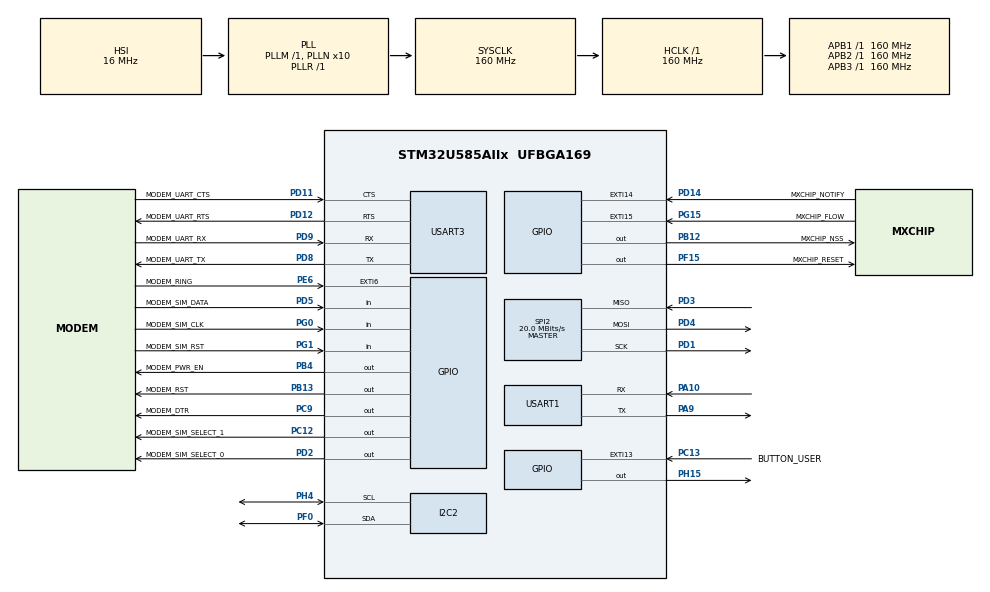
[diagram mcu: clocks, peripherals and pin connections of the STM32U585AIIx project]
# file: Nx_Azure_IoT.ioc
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CORTEX_M33_NS.userName=CORTEX_M33
GPDMA1.DESTINC_GPDMACH4=DMA_DINC_INCREMENTED
GPDMA1.DESTINC_GPDMACH5=DMA_DINC_FIXED
GPDMA1.DIRECTION_GPDMACH5=DMA_MEMORY_TO_PERIPH
GPDMA1.IPHANDLE_GPDMACH4-SIMPLEREQUEST_GPDMACH4=__NULL
GPDMA1.IPHANDLE_GPDMACH5-SIMPLEREQUEST_GPDMACH5=__NULL
GPDMA1.PRIORITY_GPDMACH4=DMA_LOW_PRIORITY_HIGH_WEIGHT
GPDMA1.PRIORITY_GPDMACH5=DMA_LOW_PRIORITY_HIGH_WEIGHT
GPDMA1.REQUEST_GPDMACH4=GPDMA1_REQUEST_SPI2_RX
GPDMA1.REQUEST_GPDMACH5=GPDMA1_REQUEST_SPI2_TX
GPDMA1.SRCINC_GPDMACH5=DMA_SINC_INCREMENTED
GPDMA1.TRANSFERALLOCATEDPORTDEST_GPDMACH4=DMA_DEST_ALLOCATED_PORT1
GPDMA1.TRANSFERALLOCATEDPORTDEST_GPDMACH5=DMA_DEST_ALLOCATED_PORT1
I2C2.Timing=0x30909DEC
Mcu.Family=STM32U5
Mcu.Name=STM32U585AIIx
Mcu.Package=UFBGA169
Mcu.UserConstants=SAMPLE_MAX_EXPONENTIAL_BACKOFF_IN_SEC,10
NETXDUO.NXD_MQTT_CLOUD_ENABLE=true
NETXDUO.NXD_MQTT_REQUIRE_TLS=true
NETXDUO.NX_APP_MEM_POOL_SIZE=64 * 1024
NETXDUO.NX_CLOUD_ENABLED=true
NETXDUO.NX_DRIVER_DEFERRED_PROCESSING=true
NETXDUO.NX_ENABLE_EXTENDED_NOTIFY_SUPPORT=true
NETXDUO.NX_ENABLE_IP_PACKET_FILTER=true
NETXDUO.NX_PHYSICAL_HEADER=44
NETXDUO.NX_SECURE_ENABLE=true
NETXDUO.NX_SECURE_ENABLE_ECC_CIPHERSUITE=true
NVIC.EXTI13_IRQn=true\:10\:0\:true\:false\:true\:false\:true\:true\:true
NVIC.EXTI14_IRQn=true\:5\:0\:true\:false\:true\:false\:false\:true\:true
NVIC.EXTI15_IRQn=true\:5\:0\:true\:false\:true\:false\:false\:true\:true
NVIC.EXTI6_IRQn=true\:5\:0\:true\:false\:true\:false\:true\:true\:true
NVIC.GPDMA1_Channel4_IRQn=true\:5\:0\:true\:false\:true\:true\:false\:true\:true
NVIC.GPDMA1_Channel5_IRQn=true\:5\:0\:true\:false\:true\:true\:false\:true\:true
NVIC.PriorityGroup=NVIC_PRIORITYGROUP_4
NVIC.SPI2_IRQn=true\:5\:0\:true\:false\:true\:false\:true\:true\:true
NVIC.TIM6_IRQn=true\:15\:0\:false\:false\:true\:false\:false\:true\:true
NVIC.TimeBase=TIM6_IRQn
NVIC.TimeBaseIP=TIM6
NVIC.USART1_IRQn=true\:5\:0\:true\:false\:true\:false\:false\:true\:true
NVIC.USART3_IRQn=true\:5\:0\:true\:false\:true\:false\:true\:true\:true
PA10.Mode=Asynchronous
PA10.Signal=USART1_RX
PA9.Mode=Asynchronous
PA9.Signal=USART1_TX
PB12.GPIO_Label=MXCHIP_NSS
PB12.GPIO_Speed=GPIO_SPEED_FREQ_HIGH
PB12.PinState=GPIO_PIN_SET
PB12.Signal=GPIO_Output
PB13.GPIO_Label=MODEM_RST
PB13.PinState=GPIO_PIN_SET
PB13.Signal=GPIO_Output
PB4\ (NJTRST).GPIO_Label=MODEM_PWR_EN
PB4\ (NJTRST).PinState=GPIO_PIN_SET
PB4\ (NJTRST).Signal=GPIO_Output
PC12.GPIO_Label=MODEM_SIM_SELECT_1
PC12.Signal=GPIO_Output
PC13.GPIO_Label=BUTTON_USER
PC13.Signal=GPXTI13
PC9.GPIO_Label=MODEM_DTR
PC9.Signal=GPIO_Output
PD1.GPIO_Mode=GPIO_MODE_AF_PP
PD1.GPIO_PuPd=GPIO_NOPULL
PD1.GPIO_Speed=GPIO_SPEED_FREQ_LOW
PD1.Mode=Full_Duplex_Master
PD1.Signal=SPI2_SCK
PD11.GPIO_Label=MODEM_UART_CTS
PD11.Mode=CTS_RTS
PD11.Signal=USART3_CTS
PD12.GPIO_Label=MODEM_UART_RTS
PD12.Mode=CTS_RTS
PD12.Signal=USART3_RTS
PD14.GPIO_Label=MXCHIP_NOTIFY
PD14.Signal=GPXTI14
PD2.GPIO_Label=MODEM_SIM_SELECT_0
PD2.Signal=GPIO_Output
PD3.GPIO_Mode=GPIO_MODE_AF_PP
PD3.GPIO_PuPd=GPIO_NOPULL
PD3.GPIO_Speed=GPIO_SPEED_FREQ_LOW
PD3.Mode=Full_Duplex_Master
PD3.Signal=SPI2_MISO
PD4.GPIO_Mode=GPIO_MODE_AF_PP
PD4.GPIO_PuPd=GPIO_NOPULL
PD4.GPIO_Speed=GPIO_SPEED_FREQ_LOW
PD4.Mode=Full_Duplex_Master
PD4.Signal=SPI2_MOSI
PD5.GPIO_Label=MODEM_SIM_DATA
PD5.Signal=GPIO_Input
PD8.GPIO_Label=MODEM_UART_TX
PD8.Mode=Asynchronous
PD8.Signal=USART3_TX
PD9.GPIO_Label=MODEM_UART_RX
PD9.Mode=Asynchronous
PD9.Signal=USART3_RX
PE6.GPIO_Label=MODEM_RING
PE6.Signal=GPXTI6
PF0.Mode=I2C
PF0.Signal=I2C2_SDA
PF15.GPIO_Label=MXCHIP_RESET
PF15.GPIO_Speed=GPIO_SPEED_FREQ_HIGH
PF15.Signal=GPIO_Output
PG0.GPIO_Label=MODEM_SIM_CLK
PG0.Signal=GPIO_Input
PG1.GPIO_Label=MODEM_SIM_RST
PG1.Signal=GPIO_Input
PG15.GPIO_Label=MXCHIP_FLOW
PG15.Signal=GPXTI15
PH15.PinState=GPIO_PIN_SET
PH15.Signal=GPIO_Output
PH4.Mode=I2C
PH4.Signal=I2C2_SCL
ProjectManager.HeapSize=0x200
ProjectManager.StackSize=0x400
ProjectManager.TargetToolchain=STM32CubeIDE
RCC.ADCFreq_Value=16000000
RCC.AHBFreq_Value=160000000
RCC.APB1Freq_Value=160000000
RCC.APB1TimFreq_Value=160000000
RCC.APB2Freq_Value=160000000
RCC.APB2TimFreq_Value=160000000
RCC.APB3Freq_Value=160000000
RCC.CortexFreq_Value=160000000
RCC.DACCLockSelectionVirtual=RCC_DAC1CLKSOURCE_LSI
RCC.EPOD_VALUE=16000000
RCC.HCLKFreq_Value=160000000
RCC.HSE_VALUE=16000000
RCC.HSI48_VALUE=48000000
RCC.HSI_VALUE=16000000
RCC.LSE_VALUE=32768
RCC.LSIDIV_VALUE=32000
RCC.MSIClockRange=RCC_MSIRANGE_0
RCC.MSI_VALUE=48000000
RCC.PLL1R=1
RCC.PLLN=10
RCC.PLLSourceVirtual=RCC_PLLSOURCE_HSI
RCC.SPI2CLockSelection=RCC_SPI2CLKSOURCE_PCLK1
RCC.SYSCLKFreq_VALUE=160000000
RCC.SYSCLKSource=RCC_SYSCLKSOURCE_PLLCLK
RCC.USBFreq_Value=48000000
RCC.VCOOutputFreq_Value=160000000
SPI2.BaudRatePrescaler=SPI_BAUDRATEPRESCALER_8
SPI2.CalculateBaudRate=20.0 MBits/s
SPI2.DataSize=SPI_DATASIZE_8BIT
SPI2.Direction=SPI_DIRECTION_2LINES
SPI2.Mode=SPI_MODE_MASTER
SPI2.NSSPMode=SPI_NSS_PULSE_DISABLE
SPI2.VirtualType=VM_MASTER
THREADX.AZRTOS_APP_MEM_ALLOCATION_METHOD=1
THREADX.TX_APP_MEM_POOL_SIZE=1024
THREADX.TX_MAX_PRIORITIES=64
THREADX.TX_THREAD_USER_EXTENSION=ULONG tx_thread_detached_joinable;
USART1.VirtualMode-Asynchronous=VM_ASYNC
USART3.VirtualMode-Asynchronous=VM_ASYNC
VP_GPDMA1_VS_GPDMACH4.Mode=SIMPLEREQUEST_GPDMACH4
VP_GPDMA1_VS_GPDMACH5.Mode=SIMPLEREQUEST_GPDMACH5
VP_ICACHE_VS_ICACHE.Mode=DirectMappedCache
VP_LPBAMQUEUE_VS_QUEUE.Mode=QUEUEMODE
VP_LPBAM_VS_SIG1.Mode=SmartRun
VP_LPBAM_VS_SIG4.Mode=LPDMA1
VP_NETXDUO_VS_AddonsOoCloud.Mode=Addons_Cloud
VP_NETXDUO_VS_AddonsOoDHCP.Mode=Addons_DHCP_Client
VP_NETXDUO_VS_AddonsOoDNS.Mode=Addons_DNS
VP_NETXDUO_VS_AddonsOoMQTT.Mode=Addons_MQTT
VP_NETXDUO_VS_AddonsOoSNTP.Mode=Addons_SNTP
VP_NETXDUO_VS_Crypto.Mode=Crypto
VP_NETXDUO_VS_NXOoCore.Mode=NX_Core
VP_NETXDUO_VS_TLS.Mode=TLS
VP_PWR_VS_DBSignals.Mode=DisableDeadBatterySignals
VP_PWR_VS_LPOM.Mode=PowerOptimisation
VP_PWR_VS_SECSignals.Mode=Security/Privilege
VP_RNG_VS_RNG.Mode=RNG_Activate
VP_SYS_VS_tim6.Mode=TIM6
VP_THREADX_VS_RTOSJjThreadXJjCoreJjDefault.Mode=Core_Default
board=custom

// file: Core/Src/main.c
/* USER CODE BEGIN Header */
/**
  ******************************************************************************
  * @file    main.c
  * @author  GPM Application Team
  * @brief   Main program body
  ******************************************************************************
  * @attention
  *
  * Copyright (c) 2021 STMicroelectronics.
  * All rights reserved.
  *
  * This software is licensed under terms that can be found in the ST_LICENSE file
  * in the root directory of this software component.
  * If no ST_LICENSE file comes with this software, it is provided AS-IS.
  *
  ******************************************************************************
  */
/* USER CODE END Header */
#include "app_threadx.h"
#include "main.h"

/* USER CODE BEGIN Includes */
#if defined(__ICCARM__)
#include <LowLevelIOInterface.h> /* for __write() */
#endif /* __ICCARM__ */
#include "app_azure_iot.h"
#include "app_azure_iot_version.h"

#if (USE_CELLULAR == 1)
#include "at_modem_api.h"
#endif
/* USER CODE END Includes */

I2C_HandleTypeDef hi2c2;

RNG_HandleTypeDef hrng;

SPI_HandleTypeDef hspi2;
DMA_HandleTypeDef handle_GPDMA1_Channel5;
DMA_HandleTypeDef handle_GPDMA1_Channel4;

UART_HandleTypeDef huart1;
UART_HandleTypeDef huart3;

void SystemClock_Config(void);
static void SystemPower_Config(void);
static void MX_GPIO_Init(void);
static void MX_GPDMA1_Init(void);
static void MX_SPI2_Init(void);
static void MX_USART1_UART_Init(void);
static void MX_USART3_UART_Init(void);
static void MX_ICACHE_Init(void);
static void MX_I2C2_Init(void);
static void MX_RNG_Init(void);
/* USER CODE BEGIN PFP */
#if (USE_WIFI == 1)
#if defined(__ICCARM__)
/* New definition from EWARM V9, compatible with EWARM8 */
int iar_fputc(int ch);
#define PUTCHAR_PROTOTYPE int iar_fputc(int ch)
#elif defined ( __CC_ARM ) || defined(__ARMCC_VERSION)
/* ARM Compiler 5/6*/
#define PUTCHAR_PROTOTYPE int fputc(int ch, FILE *f)
#elif defined(__GNUC__)
#define PUTCHAR_PROTOTYPE int __io_putchar(int ch)
#endif /* __ICCARM__ */
#endif /* USE_WIFI == 1 */
/* USER CODE END PFP */

/* USER CODE BEGIN 0 */
void HAL_GPIO_EXTI_Rising_Callback(uint16_t GPIO_Pin)
{
  switch (GPIO_Pin)
  {
    case (GPIO_PIN_1):

      break;
#if MX_WIFI_USE_SPI == 1
    case (MXCHIP_FLOW_Pin):
      mxchip_WIFI_ISR(MXCHIP_FLOW_Pin);
      nx_driver_emw3080_interrupt();
      break;

    case (MXCHIP_NOTIFY_Pin):
      mxchip_WIFI_ISR(MXCHIP_NOTIFY_Pin);
      nx_driver_emw3080_interrupt();
      break;
#endif /* MX_WIFI_USE_SPI */

#if USE_CELLULAR == 1
    case (MODEM_RING_PIN):
    {
      GPIO_PinState gstate;
      gstate = HAL_GPIO_ReadPin(MODEM_RING_GPIO_PORT, MODEM_RING_PIN);
      atcc_hw_event(DEVTYPE_MODEM_CELLULAR, HWEVT_MODEM_RING, gstate);
      break;
    }

#endif /* USE_CELLULAR == 1 */
    case(BUTTON_USER_Pin):
      app_azure_iot_on_user_button_pushed();
      break;
    default:
      break;
  }
}

#if MX_WIFI_USE_SPI == 1
void HAL_SPI_RxCpltCallback(SPI_HandleTypeDef *hspi)
{
  if (hspi == &hspi2)
  {
    HAL_SPI_TransferCallback(hspi);
  }
}

void HAL_SPI_TxCpltCallback(SPI_HandleTypeDef *hspi)
{
  if (hspi == &hspi2)
  {
    HAL_SPI_TransferCallback(hspi);
  }
}

void HAL_SPI_TxRxCpltCallback(SPI_HandleTypeDef *hspi)
{
  if (hspi == &hspi2)
  {
    HAL_SPI_TransferCallback(hspi);
  }
}
#endif

/* USER CODE END 0 */

int main(void)
{

  /* USER CODE BEGIN 1 */
  /* because of incorrect order of CubeMX code generation */
  __HAL_RCC_GPDMA1_CLK_ENABLE();
  /* USER CODE END 1 */

  /* MCU Configuration--------------------------------------------------------*/

  /* Reset of all peripherals, Initializes the Flash interface and the Systick. */
  HAL_Init();

  /* Configure the system clock */
  SystemClock_Config();

  /* Configure the System Power */
  SystemPower_Config();

  /* USER CODE BEGIN SysInit */
  BSP_LED_Init(LED_RED);
  BSP_LED_Init(LED_GREEN);
  /* USER CODE END SysInit */

  /* Initialize all configured peripherals */
  MX_GPIO_Init();
  MX_GPDMA1_Init();
  MX_SPI2_Init();
  MX_USART1_UART_Init();
  MX_USART3_UART_Init();
  MX_ICACHE_Init();
  MX_I2C2_Init();
  MX_RNG_Init();
  /* USER CODE BEGIN 2 */
  uint32_t seed = 0;

  /* generate a seed for C library srand() */
  /* (needed for NetXDuo TLS) */
  if(HAL_RNG_GenerateRandomNumber(&hrng, &seed) != HAL_OK)
  {
    Error_Handler();
  }
  srand(seed);

  printf("\r\n=========================================================================");
  printf("\r\n=               (C) COPYRIGHT 2021 STMicroelectronics                   =");
  printf("\r\n=                                                                       =");
  printf("\r\n=                         %s %d.%d.%d                            =", FW_VERSION_NAME,
                                                                                   FW_VERSION_MAJOR,
                                                                                   FW_VERSION_MINOR,
                                                                                   FW_VERSION_PATCH);
  printf("\r\n=                             %s                              =", APP_VERSION_NAME);
  printf("\r\n=                                                                       =");
  printf("\r\n= This application is not intended for production for security reasons. =");
  printf("\r\n= Please refer to TFM_Azure_IoT application of X-CUBE-AZURE             =");
  printf("\r\n= on www.st.com for a secured package.                                  =");
  printf("\r\n=========================================================================");
  printf("\r\n\r\n");

  /* USER CODE END 2 */

  MX_ThreadX_Init();

  /* We should never get here as control is now taken by the scheduler */

  /* Infinite loop */
  while (1)
  {

  }
}

void SystemClock_Config(void)
{
  RCC_OscInitTypeDef RCC_OscInitStruct = {0};
  RCC_ClkInitTypeDef RCC_ClkInitStruct = {0};

  /** Configure the main internal regulator output voltage
  */
  if (HAL_PWREx_ControlVoltageScaling(PWR_REGULATOR_VOLTAGE_SCALE1) != HAL_OK)
  {
    Error_Handler();
  }

  /** Initializes the CPU, AHB and APB buses clocks
  */
  RCC_OscInitStruct.OscillatorType = RCC_OSCILLATORTYPE_HSI48|RCC_OSCILLATORTYPE_HSI;
  RCC_OscInitStruct.HSIState = RCC_HSI_ON;
  RCC_OscInitStruct.HSI48State = RCC_HSI48_ON;
  RCC_OscInitStruct.HSICalibrationValue = RCC_HSICALIBRATION_DEFAULT;
  RCC_OscInitStruct.PLL.PLLState = RCC_PLL_ON;
  RCC_OscInitStruct.PLL.PLLSource = RCC_PLLSOURCE_HSI;
  RCC_OscInitStruct.PLL.PLLMBOOST = RCC_PLLMBOOST_DIV1;
  RCC_OscInitStruct.PLL.PLLM = 1;
  RCC_OscInitStruct.PLL.PLLN = 10;
  RCC_OscInitStruct.PLL.PLLP = 2;
  RCC_OscInitStruct.PLL.PLLQ = 2;
  RCC_OscInitStruct.PLL.PLLR = 1;
  RCC_OscInitStruct.PLL.PLLRGE = RCC_PLLVCIRANGE_1;
  RCC_OscInitStruct.PLL.PLLFRACN = 0;
  if (HAL_RCC_OscConfig(&RCC_OscInitStruct) != HAL_OK)
  {
    Error_Handler();
  }

  /** Initializes the CPU, AHB and APB buses clocks
  */
  RCC_ClkInitStruct.ClockType = RCC_CLOCKTYPE_HCLK|RCC_CLOCKTYPE_SYSCLK
                              |RCC_CLOCKTYPE_PCLK1|RCC_CLOCKTYPE_PCLK2
                              |RCC_CLOCKTYPE_PCLK3;
  RCC_ClkInitStruct.SYSCLKSource = RCC_SYSCLKSOURCE_PLLCLK;
  RCC_ClkInitStruct.AHBCLKDivider = RCC_SYSCLK_DIV1;
  RCC_ClkInitStruct.APB1CLKDivider = RCC_HCLK_DIV1;
  RCC_ClkInitStruct.APB2CLKDivider = RCC_HCLK_DIV1;
  RCC_ClkInitStruct.APB3CLKDivider = RCC_HCLK_DIV1;

  if (HAL_RCC_ClockConfig(&RCC_ClkInitStruct, FLASH_LATENCY_4) != HAL_OK)
  {
    Error_Handler();
  }
}

/**
  * @brief Power Configuration
  * @retval None
  */
static void SystemPower_Config(void)
{
  HAL_PWREx_EnableVddIO2();

  /*
   * Disable the internal Pull-Up in Dead Battery pins of UCPD peripheral
   */
  HAL_PWREx_DisableUCPDDeadBattery();
}

static void MX_GPDMA1_Init(void)
{

  /* Peripheral clock enable */
  __HAL_RCC_GPDMA1_CLK_ENABLE();

  /* GPDMA1 interrupt Init */
    HAL_NVIC_SetPriority(GPDMA1_Channel4_IRQn, 5, 0);
    HAL_NVIC_EnableIRQ(GPDMA1_Channel4_IRQn);
    HAL_NVIC_SetPriority(GPDMA1_Channel5_IRQn, 5, 0);
    HAL_NVIC_EnableIRQ(GPDMA1_Channel5_IRQn);

}

static void MX_I2C2_Init(void)
{

  hi2c2.Instance = I2C2;
  hi2c2.Init.Timing = 0x30909DEC;
  hi2c2.Init.OwnAddress1 = 0;
  hi2c2.Init.AddressingMode = I2C_ADDRESSINGMODE_7BIT;
  hi2c2.Init.DualAddressMode = I2C_DUALADDRESS_DISABLE;
  hi2c2.Init.OwnAddress2 = 0;
  hi2c2.Init.OwnAddress2Masks = I2C_OA2_NOMASK;
  hi2c2.Init.GeneralCallMode = I2C_GENERALCALL_DISABLE;
  hi2c2.Init.NoStretchMode = I2C_NOSTRETCH_DISABLE;
  if (HAL_I2C_Init(&hi2c2) != HAL_OK)
  {
    Error_Handler();
  }

  /** Configure Analogue filter
  */
  if (HAL_I2CEx_ConfigAnalogFilter(&hi2c2, I2C_ANALOGFILTER_ENABLE) != HAL_OK)
  {
    Error_Handler();
  }

  /** Configure Digital filter
  */
  if (HAL_I2CEx_ConfigDigitalFilter(&hi2c2, 0) != HAL_OK)
  {
    Error_Handler();
  }

}

static void MX_ICACHE_Init(void)
{

  /** Enable instruction cache in 1-way (direct mapped cache)
  */
  if (HAL_ICACHE_ConfigAssociativityMode(ICACHE_1WAY) != HAL_OK)
  {
    Error_Handler();
  }
  if (HAL_ICACHE_Enable() != HAL_OK)
  {
    Error_Handler();
  }

}

static void MX_RNG_Init(void)
{

  hrng.Instance = RNG;
  hrng.Init.ClockErrorDetection = RNG_CED_ENABLE;
  if (HAL_RNG_Init(&hrng) != HAL_OK)
  {
    Error_Handler();
  }

}

static void MX_SPI2_Init(void)
{

  SPI_AutonomousModeConfTypeDef HAL_SPI_AutonomousMode_Cfg_Struct = {0};

  /* SPI2 parameter configuration*/
  hspi2.Instance = SPI2;
  hspi2.Init.Mode = SPI_MODE_MASTER;
  hspi2.Init.Direction = SPI_DIRECTION_2LINES;
  hspi2.Init.DataSize = SPI_DATASIZE_8BIT;
  hspi2.Init.CLKPolarity = SPI_POLARITY_LOW;
  hspi2.Init.CLKPhase = SPI_PHASE_1EDGE;
  hspi2.Init.NSS = SPI_NSS_SOFT;
  hspi2.Init.BaudRatePrescaler = SPI_BAUDRATEPRESCALER_8;
  hspi2.Init.FirstBit = SPI_FIRSTBIT_MSB;
  hspi2.Init.TIMode = SPI_TIMODE_DISABLE;
  hspi2.Init.CRCCalculation = SPI_CRCCALCULATION_DISABLE;
  hspi2.Init.CRCPolynomial = 0x7;
  hspi2.Init.NSSPMode = SPI_NSS_PULSE_DISABLE;
  hspi2.Init.NSSPolarity = SPI_NSS_POLARITY_LOW;
  hspi2.Init.FifoThreshold = SPI_FIFO_THRESHOLD_01DATA;
  hspi2.Init.MasterSSIdleness = SPI_MASTER_SS_IDLENESS_00CYCLE;
  hspi2.Init.MasterInterDataIdleness = SPI_MASTER_INTERDATA_IDLENESS_00CYCLE;
  hspi2.Init.MasterReceiverAutoSusp = SPI_MASTER_RX_AUTOSUSP_DISABLE;
  hspi2.Init.MasterKeepIOState = SPI_MASTER_KEEP_IO_STATE_DISABLE;
  hspi2.Init.IOSwap = SPI_IO_SWAP_DISABLE;
  hspi2.Init.ReadyMasterManagement = SPI_RDY_MASTER_MANAGEMENT_INTERNALLY;
  hspi2.Init.ReadyPolarity = SPI_RDY_POLARITY_HIGH;
  if (HAL_SPI_Init(&hspi2) != HAL_OK)
  {
    Error_Handler();
  }
  HAL_SPI_AutonomousMode_Cfg_Struct.TriggerState = SPI_AUTO_MODE_DISABLE;
  HAL_SPI_AutonomousMode_Cfg_Struct.TriggerSelection = SPI_GRP1_GPDMA_CH0_TCF_TRG;
  HAL_SPI_AutonomousMode_Cfg_Struct.TriggerPolarity = SPI_TRIG_POLARITY_RISING;
  if (HAL_SPIEx_SetConfigAutonomousMode(&hspi2, &HAL_SPI_AutonomousMode_Cfg_Struct) != HAL_OK)
  {
    Error_Handler();
  }
  /* USER CODE BEGIN SPI2_Init 2 */
  SPI2->CFG1 |= 0x00000007 << SPI_CFG1_CRCSIZE_Pos;
  /* USER CODE END SPI2_Init 2 */

}

static void MX_USART1_UART_Init(void)
{

  huart1.Instance = USART1;
  huart1.Init.BaudRate = 115200;
  huart1.Init.WordLength = UART_WORDLENGTH_8B;
  huart1.Init.StopBits = UART_STOPBITS_1;
  huart1.Init.Parity = UART_PARITY_NONE;
  huart1.Init.Mode = UART_MODE_TX_RX;
  huart1.Init.HwFlowCtl = UART_HWCONTROL_NONE;
  huart1.Init.OverSampling = UART_OVERSAMPLING_16;
  huart1.Init.OneBitSampling = UART_ONE_BIT_SAMPLE_DISABLE;
  huart1.Init.ClockPrescaler = UART_PRESCALER_DIV1;
  huart1.AdvancedInit.AdvFeatureInit = UART_ADVFEATURE_NO_INIT;
  if (HAL_UART_Init(&huart1) != HAL_OK)
  {
    Error_Handler();
  }
  if (HAL_UARTEx_SetTxFifoThreshold(&huart1, UART_TXFIFO_THRESHOLD_1_8) != HAL_OK)
  {
    Error_Handler();
  }
  if (HAL_UARTEx_SetRxFifoThreshold(&huart1, UART_RXFIFO_THRESHOLD_1_8) != HAL_OK)
  {
    Error_Handler();
  }
  if (HAL_UARTEx_DisableFifoMode(&huart1) != HAL_OK)
  {
    Error_Handler();
  }

}

static void MX_USART3_UART_Init(void)
{

  huart3.Instance = USART3;
  huart3.Init.BaudRate = 115200;
  huart3.Init.WordLength = UART_WORDLENGTH_8B;
  huart3.Init.StopBits = UART_STOPBITS_1;
  huart3.Init.Parity = UART_PARITY_NONE;
  huart3.Init.Mode = UART_MODE_TX_RX;
  huart3.Init.HwFlowCtl = UART_HWCONTROL_RTS_CTS;
  huart3.Init.OverSampling = UART_OVERSAMPLING_16;
  huart3.Init.OneBitSampling = UART_ONE_BIT_SAMPLE_DISABLE;
  huart3.Init.ClockPrescaler = UART_PRESCALER_DIV1;
  huart3.AdvancedInit.AdvFeatureInit = UART_ADVFEATURE_NO_INIT;
  if (HAL_UART_Init(&huart3) != HAL_OK)
  {
    Error_Handler();
  }
  if (HAL_UARTEx_SetTxFifoThreshold(&huart3, UART_TXFIFO_THRESHOLD_1_8) != HAL_OK)
  {
    Error_Handler();
  }
  if (HAL_UARTEx_SetRxFifoThreshold(&huart3, UART_RXFIFO_THRESHOLD_1_8) != HAL_OK)
  {
    Error_Handler();
  }
  if (HAL_UARTEx_DisableFifoMode(&huart3) != HAL_OK)
  {
    Error_Handler();
  }

}

static void MX_GPIO_Init(void)
{
  GPIO_InitTypeDef GPIO_InitStruct = {0};

  /* GPIO Ports Clock Enable */
  __HAL_RCC_GPIOG_CLK_ENABLE();
  __HAL_RCC_GPIOH_CLK_ENABLE();
  __HAL_RCC_GPIOB_CLK_ENABLE();
  __HAL_RCC_GPIOD_CLK_ENABLE();
  __HAL_RCC_GPIOF_CLK_ENABLE();
  __HAL_RCC_GPIOC_CLK_ENABLE();
  __HAL_RCC_GPIOE_CLK_ENABLE();
  __HAL_RCC_GPIOA_CLK_ENABLE();

  /*Configure GPIO pin Output Level */
  HAL_GPIO_WritePin(GPIOH, GPIO_PIN_15, GPIO_PIN_SET);

  /*Configure GPIO pin Output Level */
  HAL_GPIO_WritePin(GPIOB, MODEM_PWR_EN_Pin|MXCHIP_NSS_Pin|MODEM_RST_Pin, GPIO_PIN_SET);

  /*Configure GPIO pin Output Level */
  HAL_GPIO_WritePin(GPIOC, MODEM_SIM_SELECT_1_Pin|MODEM_DTR_Pin, GPIO_PIN_RESET);

  /*Configure GPIO pin Output Level */
  HAL_GPIO_WritePin(MODEM_SIM_SELECT_0_GPIO_Port, MODEM_SIM_SELECT_0_Pin, GPIO_PIN_RESET);

  /*Configure GPIO pin Output Level */
  HAL_GPIO_WritePin(MXCHIP_RESET_GPIO_Port, MXCHIP_RESET_Pin, GPIO_PIN_RESET);

  /*Configure GPIO pin : MXCHIP_FLOW_Pin */
  GPIO_InitStruct.Pin = MXCHIP_FLOW_Pin;
  GPIO_InitStruct.Mode = GPIO_MODE_IT_RISING;
  GPIO_InitStruct.Pull = GPIO_NOPULL;
  HAL_GPIO_Init(MXCHIP_FLOW_GPIO_Port, &GPIO_InitStruct);

  /*Configure GPIO pin : PH15 */
  GPIO_InitStruct.Pin = GPIO_PIN_15;
  GPIO_InitStruct.Mode = GPIO_MODE_OUTPUT_PP;
  GPIO_InitStruct.Pull = GPIO_NOPULL;
  GPIO_InitStruct.Speed = GPIO_SPEED_FREQ_LOW;
  HAL_GPIO_Init(GPIOH, &GPIO_InitStruct);

  /*Configure GPIO pins : MODEM_PWR_EN_Pin MODEM_RST_Pin */
  GPIO_InitStruct.Pin = MODEM_PWR_EN_Pin|MODEM_RST_Pin;
  GPIO_InitStruct.Mode = GPIO_MODE_OUTPUT_PP;
  GPIO_InitStruct.Pull = GPIO_NOPULL;
  GPIO_InitStruct.Speed = GPIO_SPEED_FREQ_LOW;
  HAL_GPIO_Init(GPIOB, &GPIO_InitStruct);

  /*Configure GPIO pin : BUTTON_USER_Pin */
  GPIO_InitStruct.Pin = BUTTON_USER_Pin;
  GPIO_InitStruct.Mode = GPIO_MODE_IT_RISING;
  GPIO_InitStruct.Pull = GPIO_NOPULL;
  HAL_GPIO_Init(BUTTON_USER_GPIO_Port, &GPIO_InitStruct);

  /*Configure GPIO pin : MODEM_RING_Pin */
  GPIO_InitStruct.Pin = MODEM_RING_Pin;
  GPIO_InitStruct.Mode = GPIO_MODE_IT_RISING;
  GPIO_InitStruct.Pull = GPIO_NOPULL;
  HAL_GPIO_Init(MODEM_RING_GPIO_Port, &GPIO_InitStruct);

  /*Configure GPIO pin : MODEM_SIM_DATA_Pin */
  GPIO_InitStruct.Pin = MODEM_SIM_DATA_Pin;
  GPIO_InitStruct.Mode = GPIO_MODE_INPUT;
  GPIO_InitStruct.Pull = GPIO_NOPULL;
  HAL_GPIO_Init(MODEM_SIM_DATA_GPIO_Port, &GPIO_InitStruct);

  /*Configure GPIO pins : MODEM_SIM_SELECT_1_Pin MODEM_DTR_Pin */
  GPIO_InitStruct.Pin = MODEM_SIM_SELECT_1_Pin|MODEM_DTR_Pin;
  GPIO_InitStruct.Mode = GPIO_MODE_OUTPUT_PP;
  GPIO_InitStruct.Pull = GPIO_NOPULL;
  GPIO_InitStruct.Speed = GPIO_SPEED_FREQ_LOW;
  HAL_GPIO_Init(GPIOC, &GPIO_InitStruct);

  /*Configure GPIO pin : MODEM_SIM_SELECT_0_Pin */
  GPIO_InitStruct.Pin = MODEM_SIM_SELECT_0_Pin;
  GPIO_InitStruct.Mode = GPIO_MODE_OUTPUT_PP;
  GPIO_InitStruct.Pull = GPIO_NOPULL;
  GPIO_InitStruct.Speed = GPIO_SPEED_FREQ_LOW;
  HAL_GPIO_Init(MODEM_SIM_SELECT_0_GPIO_Port, &GPIO_InitStruct);

  /*Configure GPIO pins : MODEM_SIM_RST_Pin MODEM_SIM_CLK_Pin */
  GPIO_InitStruct.Pin = MODEM_SIM_RST_Pin|MODEM_SIM_CLK_Pin;
  GPIO_InitStruct.Mode = GPIO_MODE_INPUT;
  GPIO_InitStruct.Pull = GPIO_NOPULL;
  HAL_GPIO_Init(GPIOG, &GPIO_InitStruct);

  /*Configure GPIO pin : MXCHIP_NOTIFY_Pin */
  GPIO_InitStruct.Pin = MXCHIP_NOTIFY_Pin;
  GPIO_InitStruct.Mode = GPIO_MODE_IT_RISING;
  GPIO_InitStruct.Pull = GPIO_NOPULL;
  HAL_GPIO_Init(MXCHIP_NOTIFY_GPIO_Port, &GPIO_InitStruct);

  /*Configure GPIO pin : MXCHIP_NSS_Pin */
  GPIO_InitStruct.Pin = MXCHIP_NSS_Pin;
  GPIO_InitStruct.Mode = GPIO_MODE_OUTPUT_PP;
  GPIO_InitStruct.Pull = GPIO_NOPULL;
  GPIO_InitStruct.Speed = GPIO_SPEED_FREQ_HIGH;
  HAL_GPIO_Init(MXCHIP_NSS_GPIO_Port, &GPIO_InitStruct);

  /*Configure GPIO pin : MXCHIP_RESET_Pin */
  GPIO_InitStruct.Pin = MXCHIP_RESET_Pin;
  GPIO_InitStruct.Mode = GPIO_MODE_OUTPUT_PP;
  GPIO_InitStruct.Pull = GPIO_NOPULL;
  GPIO_InitStruct.Speed = GPIO_SPEED_FREQ_HIGH;
  HAL_GPIO_Init(MXCHIP_RESET_GPIO_Port, &GPIO_InitStruct);

  /* EXTI interrupt init*/
  HAL_NVIC_SetPriority(EXTI6_IRQn, 5, 0);
  HAL_NVIC_EnableIRQ(EXTI6_IRQn);

  HAL_NVIC_SetPriority(EXTI13_IRQn, 10, 0);
  HAL_NVIC_EnableIRQ(EXTI13_IRQn);

  HAL_NVIC_SetPriority(EXTI14_IRQn, 5, 0);
  HAL_NVIC_EnableIRQ(EXTI14_IRQn);

  HAL_NVIC_SetPriority(EXTI15_IRQn, 5, 0);
  HAL_NVIC_EnableIRQ(EXTI15_IRQn);

}

/* USER CODE BEGIN 4 */
#if (USE_WIFI == 1)
#if defined(__ICCARM__)
size_t __write(int file, unsigned char const *ptr, size_t len)
{
  size_t idx;
  unsigned char const *pdata = ptr;

  for (idx = 0; idx < len; idx++)
  {
    iar_fputc((int)*pdata);
    pdata++;
  }
  return len;
}
#endif /* __ICCARM__ */

  /**
  * @brief  Retargets the C library printf function to the USART.
  * @param  None
  * @retval None
  */

PUTCHAR_PROTOTYPE
{
  /* Place your implementation of fputc here */
  /* e.g. write a character to the USART1 and Loop until the end of transmission */
  HAL_UART_Transmit(&huart1, (uint8_t *)&ch, 1, 0xFFFF);
  return ch;
}
#endif /* USE_WIFI == 1 */
/* USER CODE END 4 */

void HAL_TIM_PeriodElapsedCallback(TIM_HandleTypeDef *htim)
{
  if (htim->Instance == TIM6) {
    HAL_IncTick();
  }
}

void Error_Handler(void)
{
  /* USER CODE BEGIN Error_Handler_Debug */
  /* User can add his own implementation to report the HAL error return state */
   BSP_LED_Off(LED_GREEN);
   while(1)
   {
     BSP_LED_Toggle(LED_RED);
     tx_thread_sleep(20);
   }
  /* USER CODE END Error_Handler_Debug */
}
